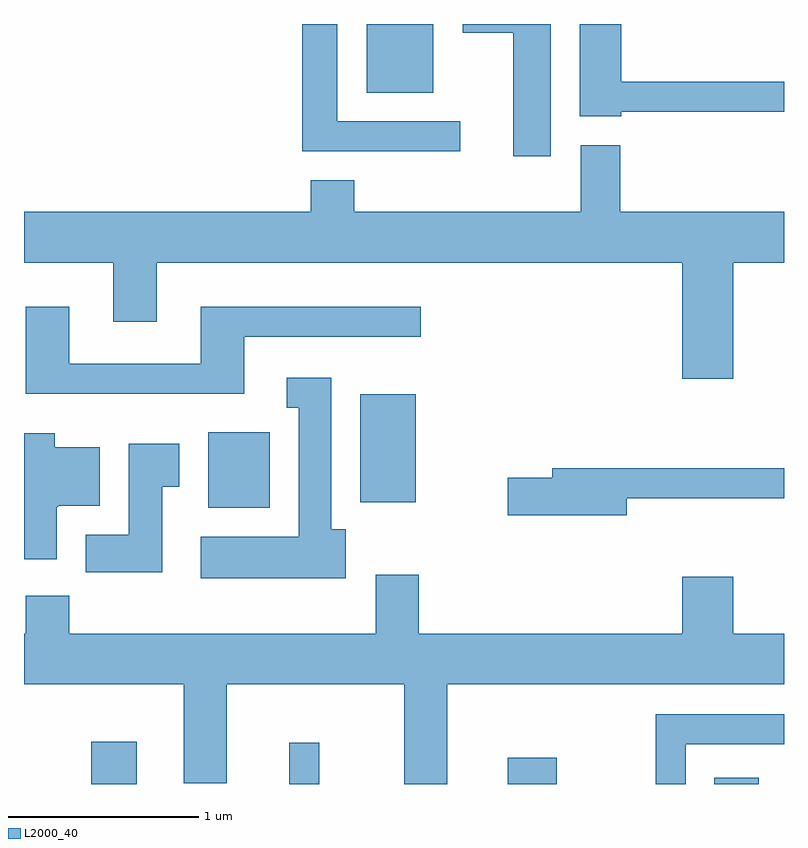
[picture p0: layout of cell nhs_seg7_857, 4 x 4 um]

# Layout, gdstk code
import gdstk
lib = gdstk.Library(unit=1e-6, precision=1e-09)
def R(c, l, rs):  # rectangles x0, y0, x1, y1
    for r in rs: c.add(gdstk.rectangle(r[:2], r[2:], *l))
def P(c, l, *ps):  # polygons
    for p in ps: c.add(gdstk.Polygon(p, *l))
L2000_40 = (2000, 40)

nhs_seg7_857 = lib.new_cell('nhs_seg7_857')
R(nhs_seg7_857, L2000_40, [(211.966,1698.252,212.204,1698.474), (213.006,1698.252,213.164,1698.468), (214.156,1698.252,214.414,1698.389), (215.243,1698.252,215.479,1698.284), (212.581,1699.706,212.904,1700.104), (213.381,1699.736,213.674,1700.304), (213.416,1701.891,213.764,1702.252)])
P(nhs_seg7_857, L2000_40, [(213.908,1701.739),(213.259,1701.739),(213.259,1702.252),(213.076,1702.252),(213.076,1701.581),(213.908,1701.581)],
  [(214.384,1702.252),(213.921,1702.252),(213.921,1702.206),(214.186,1702.206),(214.186,1701.556),(214.384,1701.556)],
  [(214.754,1701.791),(215.611,1701.791),(215.611,1701.949),(214.754,1701.949),(214.754,1702.252),(214.536,1702.252),(214.536,1701.766),(214.754,1701.766)],
  [(215.344,1700.996),(215.611,1700.996),(215.611,1701.264),(214.749,1701.264),(214.749,1701.614),(214.541,1701.614),(214.541,1701.264),(213.349,1701.264),(213.349,1701.429),(213.121,1701.429),(213.121,1701.264),(211.611,1701.264),(211.611,1700.996),(212.081,1700.996),(212.081,1700.686),(212.309,1700.686),(212.309,1700.996),(215.076,1700.996),(215.076,1700.386),(215.344,1700.386)],
  [(212.769,1700.606),(213.698,1700.606),(213.698,1700.764),(212.541,1700.764),(212.541,1700.464),(211.849,1700.464),(211.849,1700.764),(211.621,1700.764),(211.621,1700.306),(212.769,1700.306)],
  [(213.304,1699.594),(213.229,1699.594),(213.229,1700.389),(212.993,1700.389),(212.993,1700.231),(213.056,1700.231),(213.056,1699.554),(212.541,1699.554),(212.541,1699.336),(213.304,1699.336)],
  [(211.784,1699.71),(211.79,1699.71),(211.79,1699.716),(212.009,1699.716),(212.009,1700.024),(211.774,1700.024),(211.774,1700.099),(211.611,1700.099),(211.611,1699.436),(211.784,1699.436)],
  [(212.339,1699.816),(212.429,1699.816),(212.429,1700.044),(212.161,1700.044),(212.161,1699.564),(211.936,1699.564),(211.936,1699.366),(212.339,1699.366)],
  [(214.784,1699.756),(215.611,1699.756),(215.611,1699.914),(214.391,1699.914),(214.391,1699.864),(214.156,1699.864),(214.156,1699.666),(214.784,1699.666)],
  [(213.839,1698.776),(215.611,1698.776),(215.611,1699.044),(215.344,1699.044),(215.344,1699.344),(215.076,1699.344),(215.076,1699.044),(213.689,1699.044),(213.689,1699.354),(213.461,1699.354),(213.461,1699.044),(211.849,1699.044),(211.849,1699.244),(211.621,1699.244),(211.621,1699.044),(211.611,1699.044),(211.611,1698.776),(212.451,1698.776),(212.451,1698.256),(212.679,1698.256),(212.679,1698.776),(213.611,1698.776),(213.611,1698.252),(213.839,1698.252)],
  [(215.094,1698.461),(215.611,1698.461),(215.611,1698.619),(214.936,1698.619),(214.936,1698.252),(215.094,1698.252)])

lib.write_gds('nhs_seg7_857.gds')
